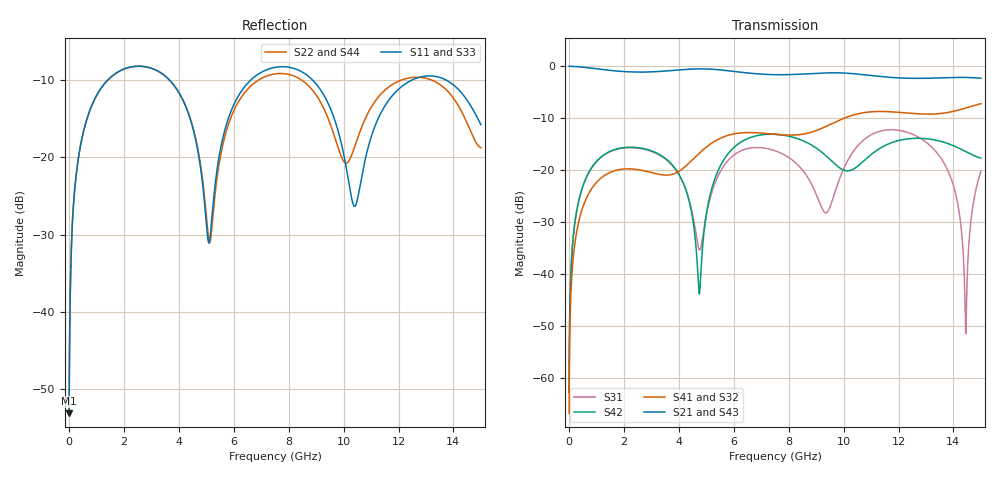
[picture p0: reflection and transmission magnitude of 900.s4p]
! Created with skrf 1.8.0 (http://scikit-rf.org).
# GHz S RI R 50.0
!freq ReS11 ImS11 ReS12 ImS12 ReS13 ImS13
! ReS14 ImS14
! ReS21 ImS21 ReS22 ImS22 ReS23 ImS23
! ReS24 ImS24
! ReS31 ImS31 ReS32 ImS32 ReS33 ImS33
! ReS34 ImS34
! ReS41 ImS41 ReS42 ImS42 ReS43 ImS43
! ReS44 ImS44
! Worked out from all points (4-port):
!   2499 points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, 5 MHz to 15 GHz, reference 50 ohm
!   strongest paths, dB at 5 MHz, 3.476 GHz, 7.19 GHz, 11.1 GHz, 15 GHz:
!     S21: 0.0, -1.0, -1.6, -1.9, -2.3
!     S43: 0.0, -1.0, -1.6, -1.9, -2.3
!     S41: -66.7, -20.9, -13.0, -8.8, -7.2
!     S32: -66.7, -21.0, -13.0, -8.7, -7.2
!     S42: -62.6, -17.6, -13.1, -16.6, -17.7
!     S31: -62.6, -17.7, -15.8, -12.9, -20.2
!   lowest |S11| = -53.2 dB at 5 MHz (marker M1), VSWR 1.00, Z = 50.2 + j0.133 ohm
!   |S11| at or under -10 dB: start of sweep to 1.406 GHz; 3.666 GHz to 6.615 GHz (2.949 GHz wide, 57.4 % of centre); 8.878 GHz to 12.48 GHz (3.6 GHz wide, 33.7 % of centre) (the widest 3 of 4)
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0.005  0.00175 0.00133  0.9982 -0.00341  8.97e-05 0.000732  -8.69e-05 -0.000453
       0.9982 -0.00341  0.00175 0.00133  -8.69e-05 -0.000453  8.97e-05 0.000732
       8.97e-05 0.000732  -8.69e-05 -0.000453  0.00175 0.00133  0.9982 -0.00341
       -8.69e-05 -0.000453  8.97e-05 0.000732  0.9982 -0.00341  0.00175 0.00133
1.519383  0.2836 0.1697  0.5179 -0.7461  0.1379 0.063  -0.0957 -0.000477
          0.5179 -0.7461  0.2825 0.1706  -0.0956 -0.000629  0.141 0.0585
          0.1379 0.063  -0.0956 -0.000629  0.2836 0.1697  0.5179 -0.7461
          -0.0957 -0.000477  0.141 0.0585  0.5179 -0.7461  0.2823 0.1707
4.747727  0.0452 -0.0853  -0.8954 -0.2874  -0.0165 -0.00483  -0.0389 0.1405
          -0.8954 -0.2874  0.0472 -0.0882  -0.0411 0.1398  0.00645 -0.000215
          -0.0165 -0.00483  -0.0411 0.1398  0.0431 -0.0848  -0.8955 -0.2874
          -0.0389 0.1405  0.00645 -0.000215  -0.8955 -0.2874  0.0486 -0.0866
7.853272  0.3844 -0.04  -0.0371 0.8255  0.1396 -0.00844  0.2104 -0.0565
          -0.0371 0.8255  0.3484 -0.00362  0.2105 -0.0515  0.1504 -0.1548
          0.1396 -0.00844  0.2105 -0.0515  0.385 -0.0385  -0.0381 0.8255
          0.2104 -0.0565  0.1504 -0.1548  -0.0381 0.8255  0.3476 -0.00322
12.99917  0.3364 -0.00273  0.1164 -0.7549  0.1667 -0.0829  -0.3449 0.0219
          0.1164 -0.7549  0.3238 -0.033  -0.3445 0.00931  0.1446 -0.1392
          0.1667 -0.0829  -0.3445 0.00931  0.336 0.00405  0.121 -0.7549
          -0.3449 0.0219  0.1446 -0.1392  0.121 -0.7549  0.321 -0.0354
14.44977  0.1983 -0.1375  -0.5138 -0.5836  0.00256 0.000774  -0.2854 0.2735
          -0.5138 -0.5836  0.1544 -0.081  -0.297 0.2614  -0.1 -0.1131
          0.00256 0.000774  -0.297 0.2614  0.1986 -0.1334  -0.5098 -0.588
          -0.2854 0.2735  -0.1 -0.1131  -0.5098 -0.588  0.1556 -0.0784
15  0.1304 -0.0977  -0.6721 -0.3639  0.0105 0.0968  -0.1997 0.3869
    -0.6721 -0.3639  0.1155 -0.00354  -0.2164 0.3788  -0.1305 0.00205
    0.0105 0.0968  -0.2164 0.3788  0.1294 -0.0936  -0.6693 -0.3699
    -0.1997 0.3869  -0.1305 0.00205  -0.6693 -0.3699  0.1197 -0.00243
